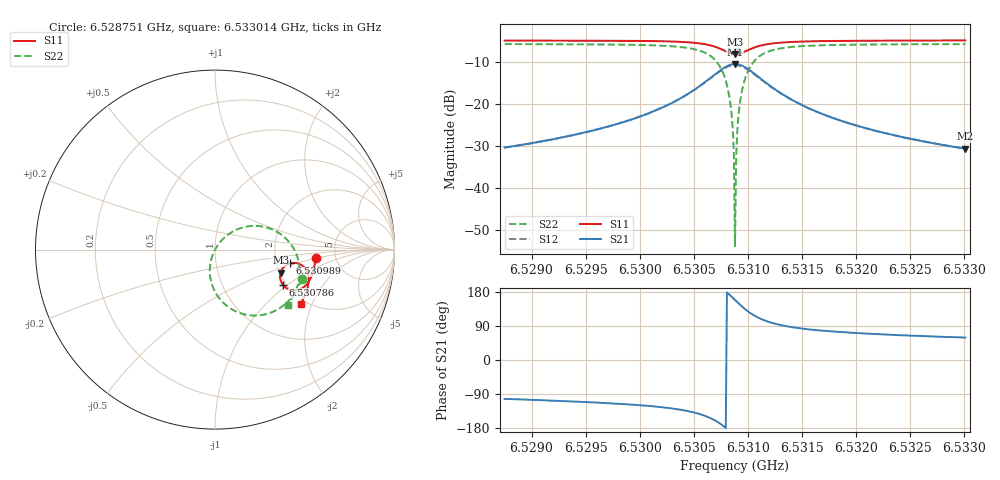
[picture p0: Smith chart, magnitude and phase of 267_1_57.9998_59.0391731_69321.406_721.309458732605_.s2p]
#  HZ  S  RI  R  50.00
! Rohde & Schwarz Vector Network Analyzer
! Rohde-Schwarz,ZNB20-2Port,1311601062101988,3.16
! Created: UTC 3/21/2024, 1:02:12 AM
! freq[Hz]  re:S11  im:S11  re:S21  im:S21  re:S12  im:S12  re:S22  im:S22
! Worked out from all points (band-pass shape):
!   401 points, 6.528751 GHz to 6.533014 GHz, reference 50 ohm
!   highest |S21| = -10.58 dB at 6.530882 GHz (marker M1); lowest = -30.7 dB at 6.533014 GHz (marker M2)
!   |S21| within 3 dB of the highest: 6.530669 GHz to 6.531096 GHz (426.7 kHz wide, 0.00653 % of centre)
!   lowest |S11| = -8.2 dB at 6.530882 GHz (marker M3), VSWR 2.27, Z = 101 - j30.8 ohm
!   |S11| at or under -10 dB: nowhere
!   |S22| runs from -53.9 to -5.8 dB; largest |S21 - S12| = 0.012
!   S11 on the Smith chart (normalised r, x): 6.528751 GHz: 3.50, -0.47; 6.530786 GHz: 1.93, -0.92; 6.530989 GHz: 2.38, -0.45; 6.533014 GHz: 1.87, -1.65
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6.5287509e9  0.5602 -0.0464  -0.00667 -0.0294  -0.00713 -0.0293  0.484 -0.1629
6.5294649e9  0.551 -0.1057  -0.0157 -0.0418  -0.0166 -0.0415  0.4536 -0.2273
6.530179e9  0.5242 -0.1759  -0.0482 -0.0718  -0.05 -0.0705  0.3744 -0.3166
6.5306052e9  0.4558 -0.2261  -0.1522 -0.0973  -0.1546 -0.0912  0.1747 -0.3633
6.5307118e9  0.4121 -0.2218  -0.2195 -0.0719  -0.2189 -0.0628  0.0612 -0.3096
6.5307864e9  0.378 -0.1958  -0.2692 -0.0154  -0.2639 -0.00594  -0.0127 -0.2064
6.5308184e9  0.3675 -0.1766  -0.2823 0.0218  -0.2747 0.0303  -0.0278 -0.1422
6.5308397e9  0.3636 -0.1614  -0.2856 0.0499  -0.2766 0.0571  -0.028 -0.0954
6.5308503e9  0.3628 -0.1533  -0.2854 0.0646  -0.2757 0.071  -0.0247 -0.0715
6.530861e9  0.3629 -0.1452  -0.2834 0.0794  -0.2735 0.0849  -0.0191 -0.0477
6.5308717e9  0.364 -0.137  -0.2802 0.0939  -0.2699 0.0986  -0.011 -0.0245
6.5308823e9  0.3658 -0.129  -0.2754 0.1083  -0.2649 0.112  -0.000557 -0.00195
6.530893e9  0.3685 -0.1211  -0.2691 0.1222  -0.2588 0.1248  0.0119 0.0194
6.5309036e9  0.372 -0.1137  -0.2616 0.1351  -0.2514 0.137  0.0265 0.0394
6.5309143e9  0.3763 -0.1067  -0.2531 0.1473  -0.243 0.1483  0.0426 0.0576
6.5309356e9  0.3868 -0.0946  -0.2328 0.1682  -0.2236 0.1678  0.0791 0.0883
6.5309889e9  0.4186 -0.0766  -0.1749 0.1995  -0.1682 0.1967  0.1805 0.129
6.5310635e9  0.46 -0.0766  -0.1022 0.2016  -0.0986 0.1988  0.3019 0.1186
6.5311701e9  0.4965 -0.0982  -0.0396 0.1721  -0.0377 0.1705  0.4029 0.0535
6.5315963e9  0.5221 -0.1769  0.0147 0.0833  0.0158 0.0829  0.4716 -0.1327
6.5323103e9  0.5033 -0.2489  0.0172 0.0399  0.0179 0.0397  0.4428 -0.2469
6.5330137e9  0.4768 -0.3013  0.0149 0.0251  0.0156 0.0247  0.4075 -0.3071
